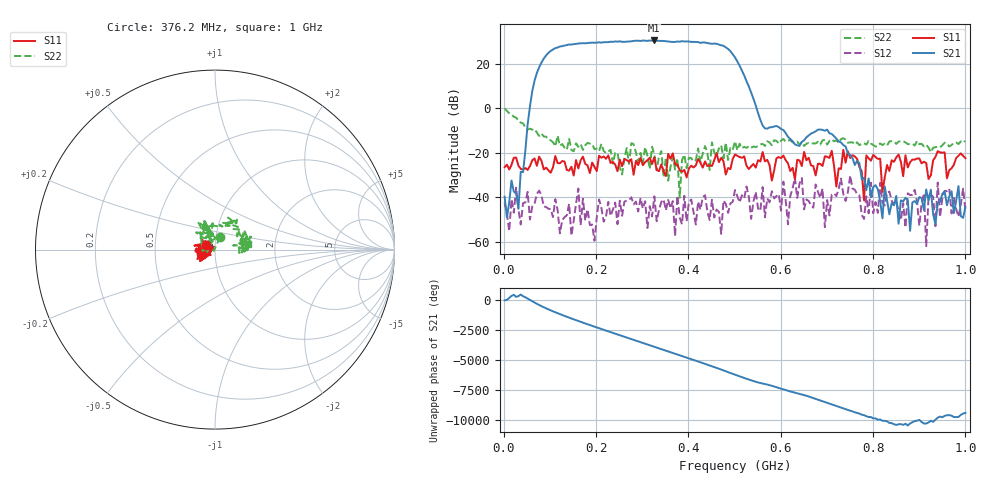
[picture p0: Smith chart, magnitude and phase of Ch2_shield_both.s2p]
!Keysight Technologies N9923A: A.12.45
!Date: Friday, 10 October 2025 03:05:59
!Timezone: (UTC+08:00) Kuala Lumpur, Singapore
!Model: N9923A
!Serial: MY61181427
!GPS Latitude:
!GPS Longitude:
!GPS TimeStamp: 0001-01-01 00:00:00Z
!GPS Seconds Since Last Read: 0
!CHECKSUM:1386356210
!Correction: S11(ON U?)S21(ON U?)S12(ON U?)S22(ON U?)
!S2P File: Measurements:S11,S21,S12,S22:
# Hz S DB R 50
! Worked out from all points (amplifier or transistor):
!   201 points, 2 MHz to 1 GHz, reference 50 ohm
!   highest |S21| = 30.6 dB at 326.4 MHz (marker M1)
!   |S21| within 3 dB of that: 118.7 MHz to 480.3 MHz (361.6 MHz wide, 121 % of centre)
!   unconditionally stable (mu >= 1): 2.329 MHz to end of sweep
!   at 166.7 MHz: K = 7.08, MAG = 29.4 dB, |S12| = -52.5 dB
!   at 501 MHz: K = 2.44, MAG = 23.2 dB, |S12| = -36.7 dB
!   at 1 GHz: K = 15695.78, MAG = -44.2 dB, |S12| = -45.9 dB
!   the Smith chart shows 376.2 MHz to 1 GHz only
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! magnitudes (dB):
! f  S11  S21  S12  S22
! 2 MHz  -26.5  -39.7  -42.4  0.1
! 31.94 MHz  -25.8  -45.2  -45.4  -5.4
! 81.84 MHz  -23.6  20.7  -39.1  -11.3
! 146.7 MHz  -26.2  28.7  -57.2  -18.7
! 171.7 MHz  -21.6  29.4  -40.6  -18.7
! 196.6 MHz  -26.3  29.6  -59.5  -18.3
! 206.6 MHz  -21.3  29.8  -40.9  -19.2
! 326.4 MHz  -22.0  30.6  -39.5  -20.7
! 336.3 MHz  -28.2  30.4  -45.7  -21.6
! 381.2 MHz  -27.9  30.1  -49.1  -40.2
! 391.2 MHz  -27.6  30.2  -39.3  -20.8
! 471.1 MHz  -22.2  28.4  -56.4  -16.6
! 501 MHz  -20.7  23.0  -36.7  -14.8
! 565.9 MHz  -23.8  -9.0  -49.0  -16.9
! 670.7 MHz  -25.9  -10.8  -44.6  -15.7
! 835.3 MHz  -28.1  -47.6  -37.4  -14.9
! 910.2 MHz  -24.0  -45.7  -38.2  -17.0
! 915.2 MHz  -24.6  -36.4  -62.0  -16.3
! 920.2 MHz  -31.7  -41.4  -39.8  -17.6
! 935.1 MHz  -21.8  -52.0  -53.0  -17.4
! 940.1 MHz  -19.3  -42.5  -33.3  -17.2
! 1 GHz  -22.3  -44.4  -45.9  -14.6
